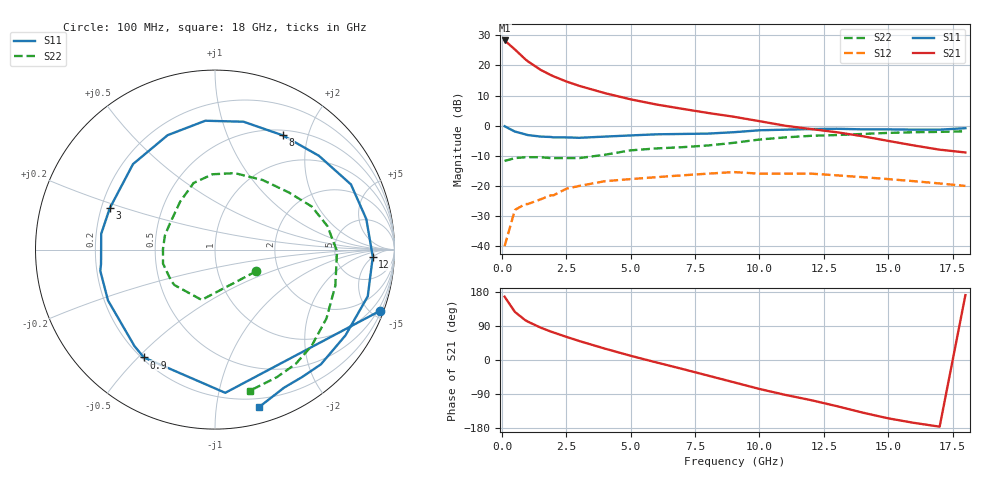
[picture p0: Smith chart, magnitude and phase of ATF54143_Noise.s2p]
!ATF54143  80 mA
# GHZ S MA R 50
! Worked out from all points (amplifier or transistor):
!   24 points, 100 MHz to 18 GHz, reference 50 ohm
!   highest |S21| = 28.3 dB at 100 MHz (marker M1)
!   |S21| within 3 dB of that: start of sweep to 500.5 MHz
!   unconditionally stable (mu >= 1): 4.233 GHz to end of sweep
!   at 1.5 GHz: K = 0.74, MSG = 21.5 dB, |S12| = -24.4 dB
!   at 7 GHz: K = 1.10, MAG = 9.1 dB, |S12| = -16.5 dB
!   at 18 GHz: K = 1.53, MAG = 1.3 dB, |S12| = -20.0 dB
!   lowest NFmin = 0.86 dB at 500 MHz
!   S11 on the Smith chart (normalised r, x): 100 MHz: 0.32, -5.54; 900 MHz: 0.21, -0.52; 3 GHz: 0.23, +0.18; 8 GHz: 0.57, +1.60; 12 GHz: 14, -5; 18 GHz: 0.13, -1.31
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0.1  0.98 -20.4  26.05 167.1  0.01 79.4  0.26 -27.6
0.5  0.8 -85.9  18.45 126.8  0.04 53.3  0.29 -104.9
0.9  0.72 -123.4  12.73 105.2  0.05 43.9  0.3 -138.8
1  0.7 -129.9  11.75 101.3  0.05 42.7  0.3 -144.3
1.5  0.66 -154.6  8.46 85.4  0.06 38.6  0.3 -165.0
1.9  0.65 -169.5  6.92 74.9  0.07 35.7  0.29 -177.6
2  0.64 -172.8  6.62 72.6  0.07 35.0  0.29 179.4
2.5  0.64 172.1  5.42 61.1  0.09 30.6  0.29 164.4
3  0.63 158.5  4.59 50.1  0.1 25.5  0.29 150.2
4  0.66 133.8  3.47 29.9  0.12 13.4  0.33 126.1
5  0.69 112.5  2.74 11.1  0.13 1.2  0.39 107.8
6  0.72 94.3  2.25 -6.5  0.14 -11.3  0.42 91.8
7  0.73 77.4  1.91 -23.5  0.15 -24.5  0.44 75.5
8  0.74 59.4  1.63 -41.1  0.16 -38.1  0.47 55.5
9  0.78 42.1  1.41 -58.7  0.17 -51.1  0.52 37.8
10  0.84 25.6  1.19 -76.4  0.16 -66.8  0.59 24.0
11  0.86 11.4  1 -92.0  0.16 -79.8  0.64 11.8
12  0.88 -2.6  0.88 -105.9  0.16 -91.7  0.68 -0.8
13  0.89 -17.0  0.78 -121.7  0.15 -105.6  0.7 -16.7
15  0.87 -47.3  0.56 -153.9  0.13 -132.3  0.76 -44.9
16  0.86 -55.6  0.47 -165.9  0.12 -141.7  0.78 -54.9
18  0.91 -74.2  0.36 171.2  0.1 -163.0  0.81 -76.2
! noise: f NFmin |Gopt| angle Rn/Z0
0.5  0.86  0.54  47  0.24
1  1.08  0.46  86  0.18
2  1.4  0.35  172  0.1
2.3  1.46  0.3  190  0.13
2.5  1.5  0.28  200  0.15
2.7  1.54  0.24  210  0.17
3  1.6  0.18  225  0.2
5  2.44  0.31  185  0.25
8  3.48  0.29  195  0.35
18  4.54  0.24  210  0.5
